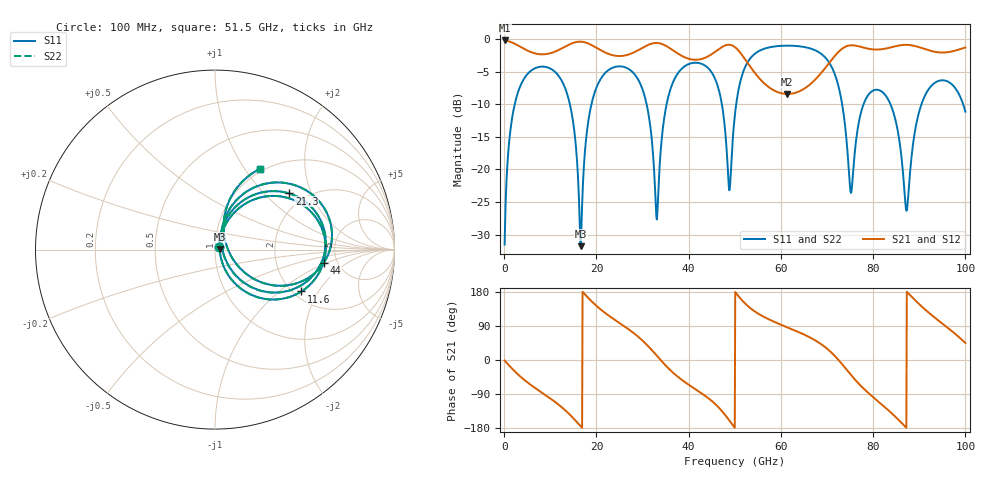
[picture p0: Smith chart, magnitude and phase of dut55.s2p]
! Touchstone file exported from HFSS 2026.1.0
!  File:  C:/ffzhzh/LocalFiles/Ansys_Project_Files/temp_train_TSV_RDL_55_1783622412_29156.aedt
!  Generated:  02:59:16 AM Jul 10, 2026
!  Design:  TSV_RDL
!  Project:  temp_train_TSV_RDL_55_1783622412_29156
! Variables:
!  h_bsmrdl = 3.3um
!  h_ox = 20um
!  h_rdl = 5um
!  h_sub = 57.61um
!  h_tmrdl = 2.89um
!  h_tsv = 57.61um
!  h_via = 3um
!  l_bsmrdl = 183.35um
!  l_sub = 3700.55um
!  l_tmrdl = 655.09um
!  m_sub = 200um
!  pitch = 55.08um
!  r_tsv = 8.45um
!  s_tmrdl = 10um
!  w_bsmrdl = 25.34um
!  w_sub = 500um
!  w_tmrdl = 18.04um
!  x_tsv_center1 = 664.11um
!  x_tsv_center2 = 872.8um
!  x_tsv_center3 = 1545.93um
!  x_tsv_center4 = 1754.62um
!  x_tsv_center5 = 2427.75um
!  x_tsv_center6 = 2636.44um
# GHz S MA R 50.000000
! Terminal data exported
! Port[1] = TM_RDL1_1_T1
! Port[2] = TM_RDL5_1_T1
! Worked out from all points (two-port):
!   1000 points, 100 MHz to 100 GHz, reference 50 ohm
!   highest |S21| = -0.19 dB at 100 MHz (marker M1); lowest = -8.4 dB at 61.4 GHz (marker M2)
!   |S21| within 3 dB of the highest: start of sweep to 52.34 GHz; 70.97 GHz to end of sweep
!   lowest |S11| = -31.8 dB at 16.6 GHz (marker M3), VSWR 1.05, Z = 52.6 + j0.435 ohm
!   |S11| at or under -10 dB: 14.25 GHz to 18.92 GHz (4.668 GHz wide, 28.1 % of centre); 73.28 GHz to 77.91 GHz (4.63 GHz wide, 6.12 % of centre); 83.76 GHz to 90.46 GHz (6.702 GHz wide, 7.69 % of centre) (the widest 3 of 7)
!   |S22| runs from -31.8 to -1.0 dB; largest |S21 - S12| = 1.9e-13
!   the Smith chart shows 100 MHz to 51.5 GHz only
!   S11 on the Smith chart (normalised r, x): 100 MHz: 1.04, +0.03; 11.6 GHz: 2.21, -1.44; 21.3 GHz: 1.66, +1.42; 44 GHz: 3.91, -0.91; 51.5 GHz: 0.96, +1.18
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0.1  0.02649 35.7  0.9788 -1.4  0.9788 -1.4  0.02649 35.7
! Gamma 0 0 0 0
! Port Impedance 50 0 50 0
3.2  0.4102 46.3  0.8873 -40.3  0.8873 -40.3  0.4102 46.3
11.6  0.5349 -25.8  0.8202 -115.8  0.8202 -115.8  0.5349 -25.9
16.6  0.02576 9.2  0.9578 -174.8  0.9578 -174.8  0.0258 9.2
16.8  0.04082 52.3  0.9567 -177.5  0.9567 -177.5  0.04087 52.3
21.3  0.5189 37.1  0.8102 129.7  0.8102 129.7  0.5189 37.0
29.3  0.472 -28.8  0.833 58.9  0.833 58.9  0.472 -29.0
33.4  0.06453 56.5  0.9346 7.2  0.9346 7.2  0.06343 57.6
36.5  0.457 53.1  0.827 -32.2  0.827 -32.2  0.4568 53.2
44  0.6108 -6.9  0.7326 -98.3  0.7326 -98.3  0.6107 -6.9
48.8  0.0692 12.3  0.9075 -159.2  0.9075 -159.2  0.06805 12.2
50.1  0.2768 73.9  0.8663 179.4  0.8663 179.4  0.2765 74.1
51.5  0.5172 60.7  0.763 158.6  0.763 158.6  0.517 60.9
61.4  0.8929 -4.1  0.38 86.3  0.38 86.3  0.8929 -4.1
66.7  0.8423 -31.1  0.4623 56.9  0.4623 56.9  0.8423 -31.1
74  0.2034 -91.0  0.8766 -21.8  0.8766 -21.8  0.2037 -90.8
75.2  0.06601 -35.7  0.8986 -39.6  0.8986 -39.6  0.06682 -35.8
78.3  0.3411 4.9  0.8557 -79.7  0.8557 -79.7  0.341 4.7
83.4  0.3371 -39.7  0.8585 -133.7  0.8585 -133.7  0.3369 -39.8
87.2  0.04821 -4.8  0.906 -178.8  0.906 -178.8  0.04825 -4.6
91.9  0.4066 32.1  0.8256 126.5  0.8256 126.5  0.4068 32.0
100  0.2778 -36.2  0.8646 44.9  0.8646 44.9  0.2779 -36.2
